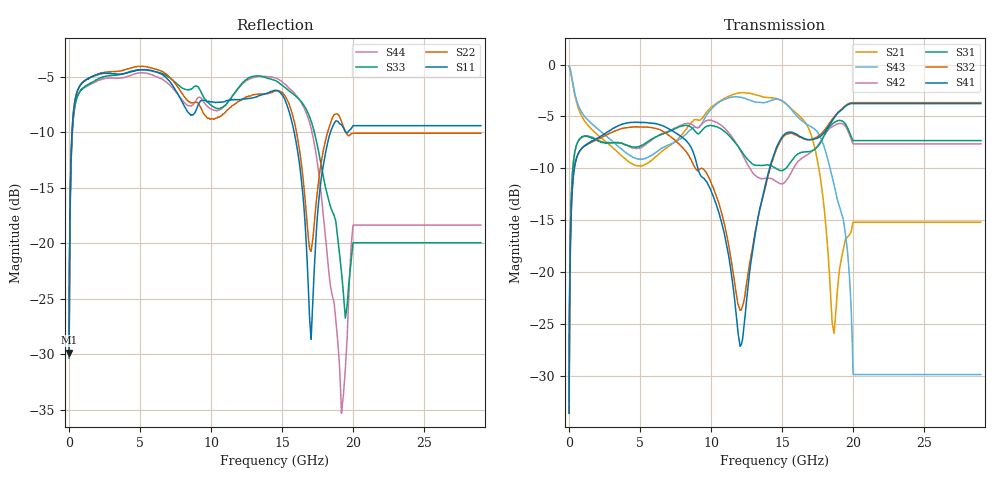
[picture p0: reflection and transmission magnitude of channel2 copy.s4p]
! Touchstone file exported from Circuit Design 2022.2.0
!  File:  C:/Users/HFSS/Documents/Ansoft/Project15.aedt
!  Generated:  4:42:51
!  Design:  Circuit1
!  Project:  Project15
!  Setup:  LinearFrequency
!  Solution:  LinearFrequency
# GHz S MA R 50.000000
! Terminal data exported
! Port[1] = Port1
! Port[2] = Port2
! Port[3] = Port3
! Port[4] = Port4
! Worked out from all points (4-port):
!   2000 points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, 14.5 MHz to 29 GHz, reference 50 ohm
!   strongest paths, dB at 14.5 MHz, 7.264 GHz, 14.51 GHz, 21.76 GHz, 29 GHz:
!     S41: -33.6, -6.4, -8.4, -3.8, -3.8
!     S32: -33.6, -7.1, -8.5, -3.7, -3.7
!     S31: -32.4, -6.3, -9.9, -7.3, -7.3
!     S42: -32.4, -6.2, -11.2, -7.7, -7.7
!     S43: -0.2, -7.6, -3.3, -29.9, -29.9
!     S21: -0.2, -7.7, -3.3, -15.2, -15.2
!   lowest |S11| = -29.9 dB at 14.5 MHz (marker M1), VSWR 1.07, Z = 51.9 + j2.65 ohm
!   |S11| at or under -10 dB: start of sweep to 220.2 MHz; 15.86 GHz to 18.41 GHz (2.547 GHz wide, 14.9 % of centre); 19.49 GHz to 19.63 GHz (143.8 MHz wide, 0.735 % of centre)
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0.0145  0.03217 52.4  0.9821 -1.8  0.02406 85.9  0.02087 -94.4
        0.982 -1.7  0.03195 54.0  0.02087 -94.9  0.02397 85.9
        0.02401 85.9  0.02085 -94.7  0.03045 54.5  0.9829 -1.6
        0.02082 -94.7  0.02406 86.0  0.9827 -1.7  0.03033 52.6
0.6235  0.4909 23.9  0.6282 -32.1  0.4233 23.1  0.3677 -175.1
        0.628 -32.1  0.4897 24.8  0.368 -174.3  0.4239 23.1
        0.423 23.1  0.3679 -174.3  0.4628 24.8  0.6468 -30.6
        0.3681 -175.1  0.4239 23.1  0.6474 -30.6  0.462 24.2
5.9885  0.5946 -34.5  0.3539 175.4  0.4425 -2.3  0.5202 31.1
        0.354 175.3  0.6122 -30.9  0.4947 33.6  0.4426 -2.1
        0.4428 -2.5  0.4944 33.5  0.5936 -30.6  0.3722 -178.7
        0.5213 31.0  0.4427 -2.2  0.3725 -178.8  0.5688 -31.8
12.093  0.4436 -51.8  0.7326 49.0  0.3872 -38.6  0.04422 -148.9
        0.7322 48.9  0.4393 -46.3  0.0656 -152.3  0.3829 -47.5
        0.3874 -38.8  0.06551 -152.4  0.5164 -57.2  0.6959 44.8
        0.04417 -149.1  0.3834 -47.6  0.6961 44.8  0.5124 -50.3
17.0375  0.03743 -63.4  0.4617 -38.7  0.3817 -19.1  0.4351 41.7
         0.4623 -38.7  0.09188 -52.7  0.4362 48.9  0.378 -16.7
         0.3823 -19.4  0.4353 48.8  0.3575 -126.2  0.5022 -20.7
         0.4344 41.3  0.3786 -17.0  0.5016 -20.5  0.3322 -127.1
19.2415  0.3377 -81.2  0.1215 86.6  0.5333 -37.3  0.6102 32.4
         0.1212 86.5  0.3453 -67.0  0.614 37.7  0.5176 -39.3
         0.5341 -37.7  0.614 37.5  0.06814 -62.8  0.186 -60.0
         0.6087 32.2  0.5187 -39.5  0.1865 -59.9  0.01849 -21.3
29  0.3386 49.6  0.1731 -26.9  0.4294 66.6  0.6496 -145.3
    0.1738 -26.2  0.313 -92.6  0.6536 -146.6  0.4145 48.0
    0.4301 59.8  0.6555 -147.5  0.1005 -59.9  0.03209 -26.3
    0.6485 -148.6  0.4144 47.2  0.03201 16.6  0.1207 -42.5
